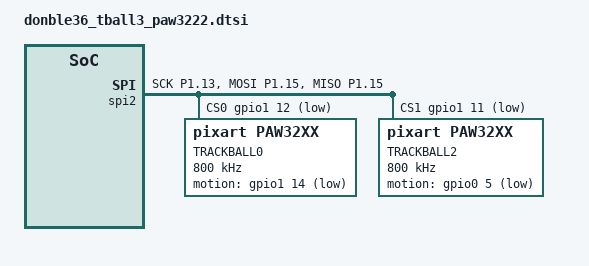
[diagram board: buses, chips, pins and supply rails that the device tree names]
/*
 * Copyright (c) 2020 Pete Johanson
 *
 * SPDX-License-Identifier: MIT
 */

&pinctrl {
	spi2_default: spi2_default {
		group1 {
			psels = <NRF_PSEL(SPIM_SCK, 1, 13)>,
							<NRF_PSEL(SPIM_MOSI, 1, 15)>,
							<NRF_PSEL(SPIM_MISO, 1, 15)>;
		};
	};
	spi2_sleep: spi2_sleep {
		group1 {
			psels = <NRF_PSEL(SPIM_SCK, 1, 13)>,
							<NRF_PSEL(SPIM_MOSI, 1, 15)>,
							<NRF_PSEL(SPIM_MISO, 1, 15)>;
			low-power-enable;
		};
	};
};

// release gpio1 11 & 12 from xiao_ble-pinctrl.dtsi
// for &trackball { irq-gpios }
&uart0 {
	status = "disabled";
};

&spi2 {
	compatible = "nordic,nrf-spim";
	status = "disabled"; // <<< disabled in main .dtsi, okay in .overlay
	pd0: pd@0 {
		compatible = "pixart,paw32xx";
		status = "disabled";
		label = "TRACKBALL0";
		reg = <0>;
		// spi-max-frequency = <4000000>;
		spi-max-frequency = <800000>;
	};
	pd0a: pd@1 {
		compatible = "pixart,paw32xx";
		status = "disabled";
		label = "TRACKBALL2";
		reg = <1>;
		// spi-max-frequency = <4000000>;
		spi-max-frequency = <800000>;
	};
};

// Config custom gpios
&spi2 {
  status = "okay";
	pinctrl-0 = <&spi2_default>;
	pinctrl-1 = <&spi2_sleep>;
	pinctrl-names = "default", "sleep";
	cs-gpios = <&gpio1 12 GPIO_ACTIVE_LOW>
					 , <&gpio1 11 GPIO_ACTIVE_LOW>;
};

#include <zephyr/dt-bindings/input/input-event-codes.h>

&pd0 {
  status = "okay";
	motion-gpios = <&gpio1 14 (GPIO_ACTIVE_LOW | GPIO_PULL_UP)>;
	res-cpi = <1558>;
	zephyr,axis-x = <INPUT_REL_X>;
	zephyr,axis-y = <INPUT_REL_Y>;
	force-awake;
};
&pd0a {
  status = "okay";
  motion-gpios = <&gpio0 5 (GPIO_ACTIVE_LOW | GPIO_PULL_UP)>;
	res-cpi = <1558>;
	zephyr,axis-x = <INPUT_REL_X>;
	zephyr,axis-y = <INPUT_REL_Y>;
	force-awake;
};
